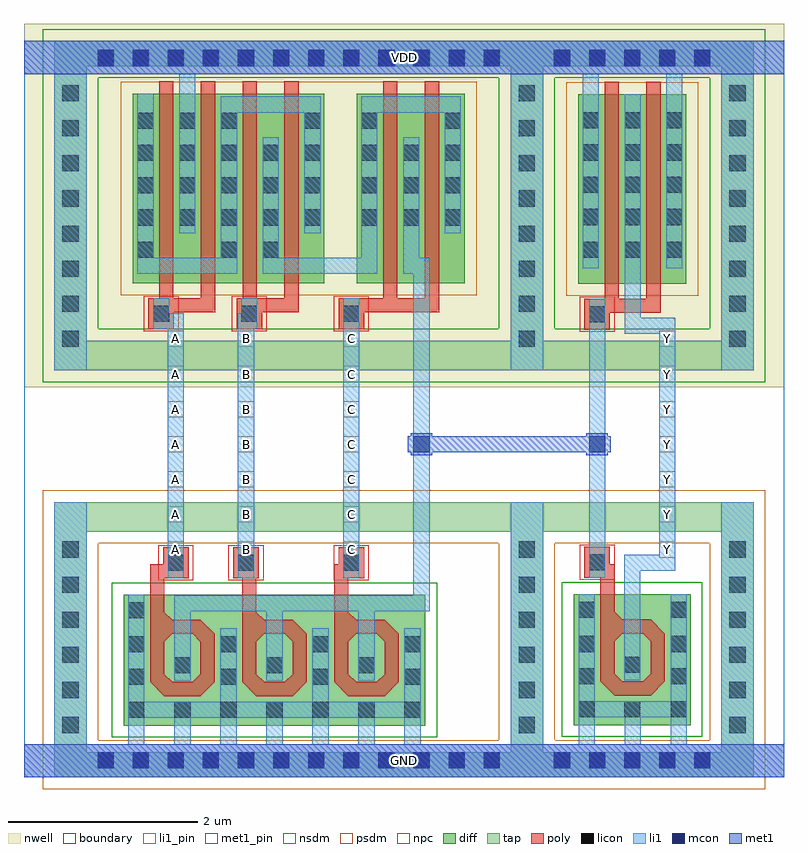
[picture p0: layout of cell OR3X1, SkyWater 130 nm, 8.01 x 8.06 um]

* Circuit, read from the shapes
.subckt OR3X1 A B C GND VDD Y
XM1 GND A n1 GND sky130_fd_pr__nfet_01v8 w=2.56 l=0.1455
XM2 GND B n1 GND sky130_fd_pr__nfet_01v8 w=2.56 l=0.1479
XM3 GND C n1 GND sky130_fd_pr__nfet_01v8 w=2.56 l=0.1443
XM4 GND n1 Y GND sky130_fd_pr__nfet_01v8 w=2.56 l=0.1516
XM5 VDD A n2 VDD sky130_fd_pr__pfet_01v8 w=2 l=0.15 m=2
XM6 n3 B n2 VDD sky130_fd_pr__pfet_01v8 w=2 l=0.15 m=2
XM7 n1 C n3 VDD sky130_fd_pr__pfet_01v8 w=2 l=0.15 m=2
XM8 Y n1 VDD VDD sky130_fd_pr__pfet_01v8 w=2 l=0.15 m=2
.ends

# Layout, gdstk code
from math import pi, radians
import gdstk
lib = gdstk.Library(unit=1e-6, precision=1e-09)
def R(c, l, rs):  # rectangles x0, y0, x1, y1
    for r in rs: c.add(gdstk.rectangle(r[:2], r[2:], *l))
def A(c, l, x, y, w, h, nx, ny, dx, dy):  # array of equal rectangles
    R(c, l, [(x+i*dx, y+j*dy, x+i*dx+w, y+j*dy+h) for i in range(nx) for j in range(ny)])
def P(c, l, *ps):  # polygons
    for p in ps: c.add(gdstk.Polygon(p, *l))
nwell = (64, 20)
diff = (65, 20)
tap = (65, 44)
poly = (66, 20)
licon = (66, 44)
li1_pin = (67, 16)
li1 = (67, 20)
mcon = (67, 44)
met1_pin = (68, 16)
met1 = (68, 20)
nsdm = (93, 44)
psdm = (94, 20)
npc = (95, 20)
boundary = (235, 4)

diff_ring_side = lib.new_cell('diff_ring_side')
R(diff_ring_side, nwell, [(-0.435,3.93,0.435,7.75)])
R(diff_ring_side, tap, [(-0.17,-0.17,0.17,2.72), (-0.17,4.11,0.17,7.57)])
A(diff_ring_side, licon, -0.085, 0.285, 0.17, 0.17, 1, 6, 0, 0.37)
A(diff_ring_side, licon, -0.085, 4.355, 0.17, 0.17, 1, 8, 0, 0.37)
R(diff_ring_side, li1, [(-0.17,-0.17,0.17,2.72), (-0.17,4.11,0.17,7.57)])
R(diff_ring_side, met1, [(-0.17,-0.17,0.17,0.17), (-0.17,7.23,0.17,7.57)])
R(diff_ring_side, nsdm, [(-0.295,3.985,0.295,7.695)])
R(diff_ring_side, psdm, [(-0.295,-0.295,0.295,2.845)])

nmos_top_trim1 = lib.new_cell('nmos_top_trim1')
R(nmos_top_trim1, diff, [(0,0,1.24,1.38)])
R(nmos_top_trim1, poly, [(0.43,0.31,0.81,0.46), (0.28,0.46,0.43,0.965), (0.81,0.46,0.96,0.965), (0.43,0.965,0.96,1.115), (0.81,1.115,0.96,1.545)])
P(nmos_top_trim1, poly, [(0.73,1.115),(0.81,1.115),(0.81,1.195)],
  [(0.28,0.965),(0.43,0.965),(0.43,1.115)],
  [(0.43,0.885),(0.43,0.965),(0.51,0.965)],
  [(0.73,0.965),(0.81,0.965),(0.81,0.885)],
  [(0.43,0.54),(0.43,0.46),(0.51,0.46)],
  [(0.73,0.46),(0.81,0.46),(0.81,0.54)],
  [(0.28,0.46),(0.43,0.46),(0.43,0.31)],
  [(0.81,0.31),(0.81,0.46),(0.96,0.46)])
A(nmos_top_trim1, licon, 0.05, 0.08, 0.17, 0.17, 3, 1, 0.485, 0)
R(nmos_top_trim1, licon, [(0.05,0.43,0.22,0.6), (1.02,0.43,1.19,0.6), (0.535,0.55,0.705,0.72), (0.05,0.77,0.22,0.94), (1.02,0.77,1.19,0.94), (1.02,1.13,1.19,1.3)])
R(nmos_top_trim1, li1, [(0.05,0,0.22,0.08), (1.02,0,1.19,0.08), (0.05,0.08,1.19,0.25), (0.05,0.25,0.22,1.02), (1.02,0.25,1.19,1.38), (0.535,0.47,0.705,0.805)])
R(nmos_top_trim1, nsdm, [(-0.125,-0.125,1.365,1.505)])

pmos2_1 = lib.new_cell('pmos2_1')
R(pmos2_1, nwell, [(0.26,-2.175,1.76,0.185)])
R(pmos2_1, diff, [(0.44,-1.995,1.58,0.005)])
R(pmos2_1, poly, [(0.72,-2.3,1.31,-2.15), (0.72,-2.15,0.87,0.135), (1.16,-2.15,1.31,0.135)])
A(pmos2_1, licon, 0.49, -1.385, 0.17, 0.17, 3, 3, 0.44, 0.34)
A(pmos2_1, li1, 0.49, -1.465, 0.17, 1.01, 3, 1, 0.44, 0)
R(pmos2_1, psdm, [(0.315,-2.12,1.705,0.13)])

poly_li1_contact = lib.new_cell('poly_li1_contact')
R(poly_li1_contact, poly, [(-0.16,-0.14,0.17,0.13)])
R(poly_li1_contact, licon, [(-0.08,-0.09,0.09,0.08)])
R(poly_li1_contact, li1, [(-0.16,-0.09,0.17,0.08)])
R(poly_li1_contact, npc, [(-0.18,-0.19,0.19,0.18)])

nmos_top_trim2 = lib.new_cell('nmos_top_trim2')
R(nmos_top_trim2, diff, [(0,0,1.24,1.38)])
R(nmos_top_trim2, poly, [(0.43,0.31,0.81,0.46), (0.28,0.46,0.43,0.89), (0.81,0.46,0.96,0.89), (0.28,0.89,0.435,0.965), (0.805,0.89,0.96,0.965), (0.43,0.965,0.96,1.115), (0.81,1.115,0.96,1.545)])
P(nmos_top_trim2, poly, [(0.73,1.115),(0.81,1.115),(0.81,1.195)],
  [(0.28,0.965),(0.43,0.965),(0.43,1.115)],
  [(0.435,0.89),(0.435,0.965),(0.51,0.965)],
  [(0.73,0.965),(0.805,0.965),(0.805,0.89)],
  [(0.43,0.54),(0.43,0.46),(0.51,0.46)],
  [(0.73,0.46),(0.81,0.46),(0.81,0.54)],
  [(0.28,0.46),(0.43,0.46),(0.43,0.31)],
  [(0.81,0.31),(0.81,0.46),(0.96,0.46)])
A(nmos_top_trim2, licon, 0.05, 0.08, 0.17, 0.17, 3, 1, 0.485, 0)
R(nmos_top_trim2, licon, [(0.05,0.43,0.22,0.6), (1.02,0.43,1.19,0.6), (0.535,0.55,0.705,0.72), (0.05,0.77,0.22,0.94), (1.02,0.77,1.19,0.94)])
R(nmos_top_trim2, li1, [(0.05,0,0.22,0.08), (1.02,0,1.19,0.08), (0.05,0.08,1.19,0.25), (0.05,0.25,0.22,1.025), (1.02,0.25,1.19,1.025), (0.535,0.47,0.705,0.805)])
R(nmos_top_trim2, nsdm, [(-0.125,-0.125,1.365,1.505)])

nor3x1_pcell = lib.new_cell('nor3x1_pcell')
R(nor3x1_pcell, nwell, [(0.435,3.93,4.765,7.75)])
A(nor3x1_pcell, diff, 0.705, 6.655, 0.17, 0.17, 3, 1, 0.44, 0)
R(nor3x1_pcell, diff, [(0.705,5.295,0.875,5.465), (1.585,5.295,1.755,5.465), (2.025,5.295,2.195,5.465), (2.465,6.655,2.635,6.825), (3.065,6.655,3.235,6.825), (3.945,6.655,4.115,6.825)])
R(nor3x1_pcell, tap, [(0.17,-0.17,4.64,0.085), (0.17,2.41,4.64,2.72), (0.17,4.11,4.64,4.42), (0.17,7.315,4.64,7.57)])
R(nor3x1_pcell, poly, [(0.84,1.875,0.99,2.065), (1.81,1.91,1.96,1.915), (2.78,1.91,2.93,2.065), (3.095,4.72,3.295,4.87)])
A(nor3x1_pcell, licon, 0.285, -0.085, 0.17, 0.17, 12, 2, 0.37, 7.4)
A(nor3x1_pcell, licon, 0.705, 6.655, 0.17, 0.17, 3, 1, 0.44, 0)
R(nor3x1_pcell, licon, [(0.705,5.295,0.875,5.465), (1.585,5.295,1.755,5.465), (2.025,5.295,2.195,5.465), (2.465,6.655,2.635,6.825), (3.065,6.655,3.235,6.825), (3.945,6.655,4.115,6.825)])
A(nor3x1_pcell, li1, 0.61, 0.17, 0.17, 0.195, 3, 1, 0.97, 0)
A(nor3x1_pcell, li1, 1.095, 0.17, 0.17, 0.275, 3, 1, 0.97, 0)
R(nor3x1_pcell, li1, [(0.17,-0.17,4.64,0.17), (3.52,0.17,3.69,0.445), (1.095,1.165,1.265,1.57), (2.065,1.165,2.235,1.57), (3.035,1.17,3.205,1.57), (1.095,1.57,3.785,1.74), (3.615,1.74,3.785,5.125), (2.875,2.095,3.045,4.54), (1.025,2.165,1.195,4.71), (1.765,2.165,1.785,2.205), (1.765,2.205,1.935,4.54), (1.765,4.54,1.805,4.71), (0.705,5.125,1.755,5.295), (2.025,5.125,3.235,5.295), (3.505,5.125,3.785,5.295), (0.705,5.295,0.875,5.555), (1.585,5.295,1.755,5.555), (2.025,5.295,2.195,5.555), (3.065,5.295,3.235,5.555), (3.505,5.295,3.675,5.555), (3.065,6.485,3.235,6.825), (3.945,6.485,4.115,6.825), (0.705,6.565,0.875,7.025), (1.145,6.565,1.315,7.23), (1.585,6.565,1.755,6.825), (2.465,6.565,2.635,6.825), (1.585,6.825,2.635,6.995), (3.065,6.825,4.115,6.995), (0.17,7.23,4.64,7.57)])
A(nor3x1_pcell, mcon, 0.285, -0.085, 0.17, 0.17, 12, 2, 0.37, 7.4)
R(nor3x1_pcell, met1, [(0.17,-0.17,4.64,0.17), (0.17,7.23,4.64,7.57)])
R(nor3x1_pcell, nsdm, [(0.045,3.985,4.765,4.545), (0.045,7.19,4.765,7.695)])
R(nor3x1_pcell, psdm, [(0.045,-0.295,4.765,0.21), (0.045,2.285,4.765,2.845), (2.8,4.9,2.89,6.53), (0.58,5.17,1,5.59), (1.46,5.17,2.32,5.59), (0.58,6.53,1.88,6.95), (2.34,6.53,3.36,6.95), (3.82,6.53,4.24,6.95), (2.8,6.95,2.89,7.15)])
nor3x1_pcell.add(gdstk.Reference(diff_ring_side, (0,0)))
nor3x1_pcell.add(gdstk.Reference(nmos_top_trim1, (1.8,0.365), rotation=pi, x_reflection=True))
nor3x1_pcell.add(gdstk.Reference(pmos2_1, (0.215,7.02)))
nor3x1_pcell.add(gdstk.Reference(poly_li1_contact, (0.96,4.71), rotation=3*pi/2))
nor3x1_pcell.add(gdstk.Reference(poly_li1_contact, (1.115,2.085), rotation=3*pi/2))
nor3x1_pcell.add(gdstk.Reference(nmos_top_trim2, (2.77,0.365), rotation=pi, x_reflection=True))
nor3x1_pcell.add(gdstk.Reference(nmos_top_trim2, (3.74,0.365), rotation=pi, x_reflection=True))
nor3x1_pcell.add(gdstk.Reference(pmos2_1, (1.095,7.02)))
nor3x1_pcell.add(gdstk.Reference(poly_li1_contact, (1.845,2.075), rotation=pi/2))
nor3x1_pcell.add(gdstk.Reference(poly_li1_contact, (1.89,4.71), rotation=3*pi/2))
nor3x1_pcell.add(gdstk.Reference(pmos2_1, (2.575,7.02)))
nor3x1_pcell.add(gdstk.Reference(poly_li1_contact, (2.955,2.075), rotation=pi/2))
nor3x1_pcell.add(gdstk.Reference(poly_li1_contact, (2.965,4.71), rotation=3*pi/2))
nor3x1_pcell.add(gdstk.Reference(diff_ring_side, (4.81,0)))

li1_m1_contact = lib.new_cell('li1_M1_contact')
R(li1_m1_contact, li1, [(-0.085,-0.165,0.085,0.165)])
R(li1_m1_contact, mcon, [(-0.085,-0.085,0.085,0.085)])
R(li1_m1_contact, met1, [(-0.115,-0.115,0.115,-0.085), (-0.265,-0.085,0.145,0.085), (-0.115,0.085,0.115,0.115)])

pmos2 = lib.new_cell('pmos2')
R(pmos2, nwell, [(0.26,-2.18,1.76,0.18)])
R(pmos2, diff, [(0.44,-2,1.58,0)])
R(pmos2, poly, [(0.72,-2.305,1.31,-2.155), (0.72,-2.155,0.87,0.13), (1.16,-2.155,1.31,0.13)])
A(pmos2, licon, 0.49, -1.38, 0.17, 0.17, 3, 4, 0.44, 0.34)
R(pmos2, li1, [(0.49,-1.465,0.66,0.21), (0.93,-1.465,1.1,0), (1.37,-1.465,1.54,0.21)])
R(pmos2, psdm, [(0.315,-2.125,1.705,0.125)])

nmos_top = lib.new_cell('nmos_top')
R(nmos_top, diff, [(0,0,1.23,1.38)])
R(nmos_top, poly, [(0.42,0.31,0.8,0.46), (0.27,0.46,0.42,0.965), (0.8,0.46,0.95,0.965), (0.42,0.965,0.95,1.115), (0.8,1.115,0.95,1.54)])
P(nmos_top, poly, [(0.72,1.115),(0.8,1.115),(0.8,1.195)],
  [(0.27,0.965),(0.42,0.965),(0.42,1.115)],
  [(0.42,0.885),(0.42,0.965),(0.5,0.965)],
  [(0.72,0.965),(0.8,0.965),(0.8,0.885)],
  [(0.42,0.54),(0.42,0.46),(0.5,0.46)],
  [(0.72,0.46),(0.8,0.46),(0.8,0.54)],
  [(0.27,0.46),(0.42,0.46),(0.42,0.31)],
  [(0.8,0.31),(0.8,0.46),(0.95,0.46)])
R(nmos_top, licon, [(0.04,0.08,0.21,0.25), (0.53,0.08,0.7,0.25), (1.01,0.08,1.18,0.25), (0.04,0.43,0.21,0.6), (1.01,0.43,1.18,0.6), (0.53,0.55,0.7,0.72), (0.04,0.77,0.21,0.94), (1.01,0.77,1.18,0.94), (0.04,1.13,0.21,1.3), (1.01,1.13,1.18,1.3)])
R(nmos_top, li1, [(0.04,0,0.21,0.08), (1.01,0,1.18,0.08), (0.04,0.08,1.18,0.25), (0.04,0.25,0.21,1.38), (1.01,0.25,1.18,1.38), (0.53,0.47,0.7,0.805)])
R(nmos_top, nsdm, [(-0.125,-0.125,1.355,1.505)])

invx1_pcell = lib.new_cell('invx1_pcell')
R(invx1_pcell, nwell, [(-0.435,3.93,2.655,7.75)])
A(invx1_pcell, diff, 0.59, 5.295, 0.17, 0.17, 3, 1, 0.44, 0)
R(invx1_pcell, tap, [(0.17,-0.17,2.05,0.085), (0.17,2.41,2.05,2.72), (0.17,4.11,2.05,4.42), (0.17,7.315,2.05,7.57)])
R(invx1_pcell, poly, [(0.775,1.905,0.925,2.065)])
A(invx1_pcell, licon, 0.285, -0.085, 0.17, 0.17, 5, 2, 0.37, 7.4)
A(invx1_pcell, licon, 0.59, 5.295, 0.17, 0.17, 3, 1, 0.44, 0)
R(invx1_pcell, li1, [(0.17,-0.17,2.05,0.17), (0.545,0.17,0.715,0.45), (1.03,0.17,1.2,0.455), (1.515,0.17,1.685,0.45), (1.025,1.165,1.195,1.995), (1.025,1.995,1.565,2.165), (1.395,2.165,1.565,4.495), (0.655,2.245,0.825,4.54), (1.03,4.495,1.565,4.665), (1.03,4.665,1.2,5.555), (0.59,5.185,0.76,5.555), (1.47,5.185,1.64,5.555), (0.17,7.23,2.05,7.57)])
A(invx1_pcell, mcon, 0.285, -0.085, 0.17, 0.17, 5, 2, 0.37, 7.4)
R(invx1_pcell, met1, [(0.17,-0.17,2.05,0.17), (0.17,7.23,2.05,7.57)])
R(invx1_pcell, nsdm, [(0.045,3.985,2.175,4.545), (0.045,7.19,2.175,7.695)])
R(invx1_pcell, psdm, [(0.045,-0.295,2.175,0.21), (0.045,2.285,2.175,2.845), (0.465,5.17,1.765,5.59)])
invx1_pcell.add(gdstk.Reference(poly_li1_contact, (0.735,2.08), rotation=pi/2))
invx1_pcell.add(gdstk.Reference(poly_li1_contact, (0.745,4.705), rotation=3*pi/2))
invx1_pcell.add(gdstk.Reference(pmos2, (0.1,7.02)))
invx1_pcell.add(gdstk.Reference(nmos_top, (1.725,0.37), rotation=pi, x_reflection=True))
invx1_pcell.add(gdstk.Reference(diff_ring_side, (0,0)))
invx1_pcell.add(gdstk.Reference(diff_ring_side, (2.22,0)))

or3x1_pcell = lib.new_cell('or3x1_pcell')
R(or3x1_pcell, met1, [(2.455,3.245,3.805,3.415)])
or3x1_pcell.add(gdstk.Reference(nor3x1_pcell, (-1.48,0)))
or3x1_pcell.add(gdstk.Reference(li1_m1_contact, (4.07,3.33)))
or3x1_pcell.add(gdstk.Reference(li1_m1_contact, (2.22,3.33), rotation=pi))
or3x1_pcell.add(gdstk.Reference(invx1_pcell, (3.33,0)))

or3x1 = lib.new_cell('OR3X1')
R(or3x1, nwell, [(0,4.11,8.01,7.94)])
R(or3x1, tap, [(0.32,0,7.69,0.115), (0.32,7.75,7.69,7.76)])
A(or3x1, li1_pin, 1.515, 2.315, 0.17, 0.17, 1, 7, 0, 0.37)
A(or3x1, li1_pin, 2.255, 2.315, 0.17, 0.17, 1, 7, 0, 0.37)
A(or3x1, li1_pin, 3.365, 2.315, 0.17, 0.17, 1, 7, 0, 0.37)
A(or3x1, li1_pin, 6.695, 2.315, 0.17, 0.17, 1, 7, 0, 0.37)
A(or3x1, li1, 1.515, 2.315, 0.17, 0.17, 1, 7, 0, 0.37)
A(or3x1, li1, 2.255, 2.315, 0.17, 0.17, 1, 7, 0, 0.37)
A(or3x1, li1, 3.365, 2.315, 0.17, 0.17, 1, 7, 0, 0.37)
A(or3x1, li1, 6.695, 2.315, 0.17, 0.17, 1, 7, 0, 0.37)
R(or3x1, li1, [(0,0,8.01,0.115), (0,0.115,0.43,0.35), (7.59,0.115,8.01,0.35), (0,7.41,0.42,7.675), (7.56,7.41,8.01,7.675), (0,7.675,8.01,7.76)])
R(or3x1, met1_pin, [(0,0,8.01,0.35), (0,7.41,8.01,7.76)])
R(or3x1, met1, [(0,0,8.01,0.115), (0,0.115,0.43,0.35), (7.59,0.115,8.01,0.35), (0,7.41,0.42,7.675), (7.56,7.41,8.01,7.675), (0,7.675,8.01,7.76)])
R(or3x1, nsdm, [(0.195,7.625,7.815,7.885)])
R(or3x1, psdm, [(0.195,-0.125,7.815,0.24)])
R(or3x1, boundary, [(0,0,8.01,7.76)])
or3x1.add(gdstk.Reference(or3x1_pcell, (1.97,0.18)))
or3x1.add(gdstk.Label('Y', (6.78,4.62), layer=67, texttype=5))
or3x1.add(gdstk.Label('Y', (6.78,4.25), layer=67, texttype=5))
or3x1.add(gdstk.Label('Y', (6.78,3.88), layer=67, texttype=5))
or3x1.add(gdstk.Label('Y', (6.78,3.51), layer=67, texttype=5))
or3x1.add(gdstk.Label('Y', (6.78,3.14), layer=67, texttype=5))
or3x1.add(gdstk.Label('Y', (6.78,2.77), layer=67, texttype=5))
or3x1.add(gdstk.Label('Y', (6.78,2.4), layer=67, texttype=5))
or3x1.add(gdstk.Label('A', (1.6,2.4), layer=67, texttype=5))
or3x1.add(gdstk.Label('A', (1.6,2.77), layer=67, texttype=5))
or3x1.add(gdstk.Label('A', (1.6,3.14), layer=67, texttype=5))
or3x1.add(gdstk.Label('A', (1.6,3.51), layer=67, texttype=5))
or3x1.add(gdstk.Label('A', (1.6,3.88), layer=67, texttype=5))
or3x1.add(gdstk.Label('A', (1.6,4.25), layer=67, texttype=5))
or3x1.add(gdstk.Label('A', (1.6,4.62), layer=67, texttype=5))
or3x1.add(gdstk.Label('B', (2.34,2.4), layer=67, texttype=5))
or3x1.add(gdstk.Label('B', (2.34,2.77), layer=67, texttype=5))
or3x1.add(gdstk.Label('B', (2.34,3.14), layer=67, texttype=5))
or3x1.add(gdstk.Label('B', (2.34,3.51), layer=67, texttype=5))
or3x1.add(gdstk.Label('B', (2.34,3.88), layer=67, texttype=5))
or3x1.add(gdstk.Label('B', (2.34,4.25), layer=67, texttype=5))
or3x1.add(gdstk.Label('B', (2.34,4.62), layer=67, texttype=5))
or3x1.add(gdstk.Label('C', (3.45,2.4), layer=67, texttype=5))
or3x1.add(gdstk.Label('C', (3.45,2.77), layer=67, texttype=5))
or3x1.add(gdstk.Label('C', (3.45,3.14), layer=67, texttype=5))
or3x1.add(gdstk.Label('C', (3.45,3.51), layer=67, texttype=5))
or3x1.add(gdstk.Label('C', (3.45,3.88), layer=67, texttype=5))
or3x1.add(gdstk.Label('C', (3.45,4.25), layer=67, texttype=5))
or3x1.add(gdstk.Label('C', (3.45,4.62), layer=67, texttype=5))
or3x1.add(gdstk.Label('VDD', (4.005,7.585), layer=68, texttype=5))
or3x1.add(gdstk.Label('GND', (4.005,0.175), layer=68, texttype=5))

lib.write_gds('OR3X1.gds')
